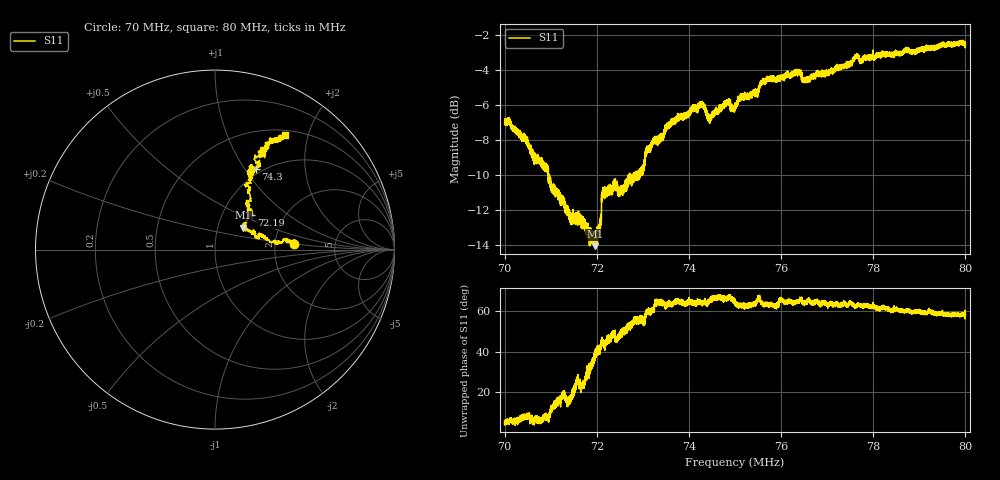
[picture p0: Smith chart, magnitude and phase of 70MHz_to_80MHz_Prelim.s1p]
# HZ S RI R 50
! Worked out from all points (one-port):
!   20200 points, 70 MHz to 80 MHz, reference 50 ohm
!   lowest |S11| = -14.1 dB at 71.96 MHz (marker M1), VSWR 1.49, Z = 66 + j16.7 ohm
!   |S11| at or under -10 dB: 70.97 MHz to 72.69 MHz (1.72 MHz wide, 2.39 % of centre); 72.69086 MHz to 72.71694 MHz (26.08 kHz wide, 0.0359 % of centre); 72.73144 MHz to 72.79411 MHz (62.68 kHz wide, 0.0861 % of centre)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
!   S11 on the Smith chart (normalised r, x): 70 MHz: 2.56, +0.20; 72.19 MHz: 1.37, +0.57; 74.3 MHz: 0.93, +1.12; 80 MHz: 0.56, +1.65
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7e7  0.4407 0.0315
7.046282e7  0.396 0.0512
7.079101e7  0.3428 0.0367
7.124988e7  0.2525 0.079
7.140036e7  0.24 0.068
7.195723e7  0.1554 0.1219
7.20493e7  0.1601 0.1421
7.214682e7  0.2018 0.1976
7.21884e7  0.202 0.1913
7.249975e7  0.1878 0.2071
7.296654e7  0.1859 0.2612
7.30992e7  0.1935 0.3241
7.374962e7  0.2038 0.4162
7.430106e7  0.2273 0.4492
7.444956e7  0.1822 0.4037
7.484258e7  0.2109 0.4613
7.49995e7  0.2127 0.4399
7.51277e7  0.2407 0.4655
7.544896e7  0.2448 0.494
7.55742e7  0.2527 0.5231
7.585387e7  0.2772 0.5306
7.600039e7  0.2576 0.5369
7.624938e7  0.2824 0.5552
7.639837e7  0.2653 0.5596
7.651568e7  0.2581 0.5298
7.749925e7  0.2881 0.5971
7.874912e7  0.3459 0.6136
7.99985e7  0.3964 0.6418
